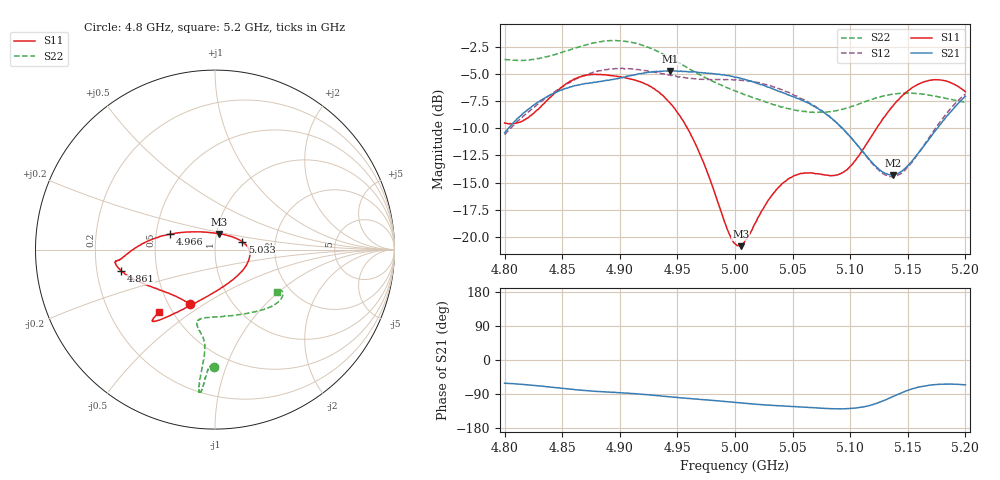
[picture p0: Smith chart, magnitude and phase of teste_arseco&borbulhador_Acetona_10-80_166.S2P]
! Network Analyzer HP8722D
! Hewlett-Packard
! Data name: Linha & Wilkinson
! Saver's name: Rodrigo Anjos
! Comments: Teste da utilização de aquisição
! continua pelo VNA HP8722D
! Time and date: 17/4/2025 15:44
!  Frequency  S11  S21  S12  S22
# HZ  S  MA R 50
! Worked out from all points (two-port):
!   401 points, 4.8 GHz to 5.2 GHz, reference 50 ohm
!   highest |S21| = -4.71 dB at 4.944 GHz (marker M1); lowest = -14.3 dB at 5.137 GHz (marker M2)
!   |S21| within 3 dB of the highest: 4.827 GHz to 5.064 GHz (237 MHz wide, 4.79 % of centre); 5.193819 GHz to end of sweep
!   lowest |S11| = -20.8 dB at 5.005 GHz (marker M3), VSWR 1.20, Z = 51.5 + j9.12 ohm
!   |S11| at or under -10 dB: 4.959 GHz to 5.123 GHz (164 MHz wide, 3.25 % of centre)
!   |S22| runs from -8.5 to -1.9 dB; largest |S21 - S12| = 0.87
!   S11 on the Smith chart (normalised r, x): 4.8 GHz: 0.64, -0.44; 4.861 GHz: 0.31, -0.10; 4.966 GHz: 0.59, +0.11; 5.033 GHz: 1.35, +0.12; 5.2 GHz: 0.43, -0.38
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4.8e9  0.3348 -115.0  0.3018 -61.3  0.2957 -175.7  0.6562 -90.7
4.819e9  0.3511 -135.1  0.3809 -65.2  0.3699 -174.8  0.6517 -92.4
4.861e9  0.5349 -167.0  0.4976 -78.2  0.5305 -178.1  0.7396 -94.7
4.867e9  0.5493 -169.4  0.5054 -80.0  0.5479 -179.3  0.7563 -94.9
4.9e9  0.5458 -173.6  0.5396 -86.3  0.5959 174.4  0.7996 -96.3
4.934e9  0.4641 -179.4  0.5779 -94.5  0.5692 170.8  0.7093 -96.6
4.944e9  0.4118 175.9  0.5817 -97.2  0.5535 171.0  0.6663 -96.3
4.966e9  0.2655 161.2  0.5742 -102.9  0.5341 172.9  0.5715 -95.8
4.993e9  0.1095 117.8  0.5533 -110.0  0.5302 175.2  0.4869 -98.3
5e9  0.09319 94.1  0.5431 -112.0  0.5294 175.2  0.47 -99.8
5.005e9  0.09071 75.3  0.537 -113.4  0.5255 175.2  0.4589 -100.8
5.033e9  0.1583 16.3  0.4804 -119.8  0.4904 173.8  0.4067 -103.6
5.049e9  0.188 0.5  0.4453 -122.5  0.4565 173.1  0.3872 -99.5
5.067e9  0.1968 -18.7  0.4043 -125.6  0.4072 172.9  0.3758 -89.5
5.097e9  0.2034 -71.1  0.301 -128.4  0.3013 174.8  0.3926 -66.1
5.121e9  0.3051 -108.4  0.2142 -116.4  0.2122 -171.2  0.434 -49.6
5.134e9  0.3834 -118.9  0.1935 -100.9  0.1898 -153.6  0.4515 -43.1
5.137e9  0.4005 -120.5  0.1927 -96.5  0.1897 -148.9  0.4544 -41.8
5.15e9  0.4698 -126.2  0.2128 -80.0  0.2096 -129.8  0.4594 -37.1
5.168e9  0.5247 -130.3  0.2801 -66.9  0.284 -113.2  0.4494 -32.9
5.184e9  0.5204 -131.7  0.3607 -63.7  0.3727 -107.9  0.4338 -31.7
5.2e9  0.466 -131.9  0.4439 -65.6  0.4548 -107.7  0.4162 -34.1
